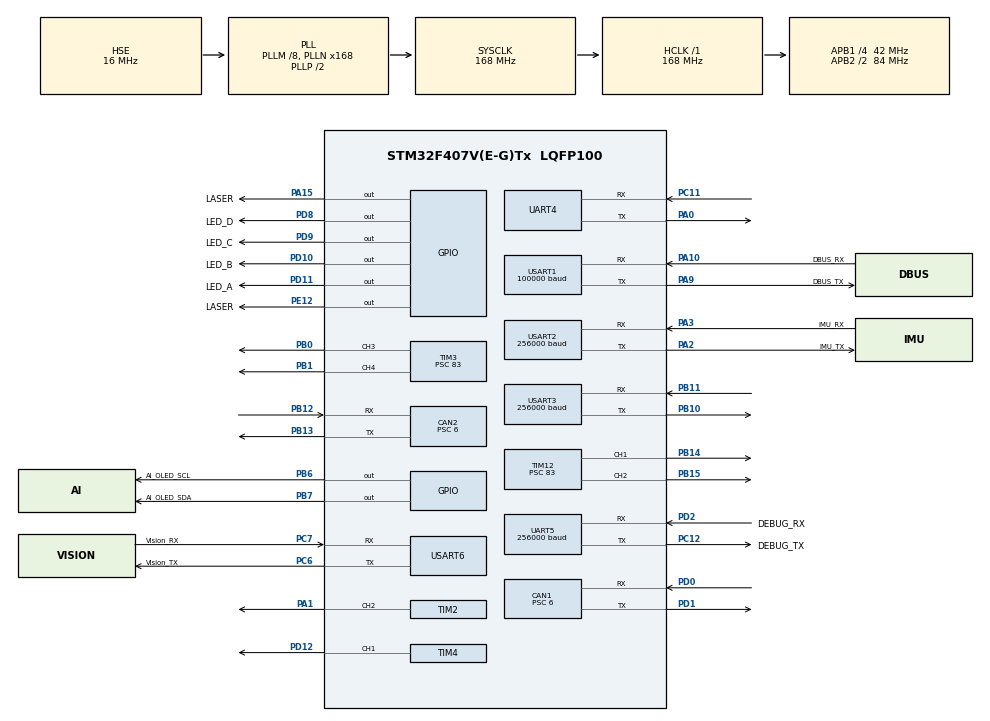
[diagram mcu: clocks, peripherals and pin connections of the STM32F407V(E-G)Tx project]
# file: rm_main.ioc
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CAN1.ABOM=ENABLE
CAN1.BS1=CAN_BS1_3TQ
CAN1.BS2=CAN_BS2_3TQ
CAN1.CalculateTimeQuantum=142.85714285714286
CAN1.Prescaler=6
CAN2.ABOM=ENABLE
CAN2.BS1=CAN_BS1_3TQ
CAN2.BS2=CAN_BS2_3TQ
CAN2.CalculateTimeQuantum=142.85714285714286
CAN2.Prescaler=6
Dma.Request0=USART2_RX
Dma.Request1=USART3_RX
Dma.Request10=USART6_TX
Dma.Request11=USART1_TX
Dma.Request2=USART3_TX
Dma.Request3=USART1_RX
Dma.Request4=USART6_RX
Dma.Request5=UART5_RX
Dma.Request6=UART5_TX
Dma.Request7=USART2_TX
Dma.Request8=UART4_RX
Dma.Request9=UART4_TX
Dma.UART4_RX.8.Direction=DMA_PERIPH_TO_MEMORY
Dma.UART4_RX.8.FIFOMode=DMA_FIFOMODE_DISABLE
Dma.UART4_RX.8.Instance=DMA1_Stream2
Dma.UART4_RX.8.MemDataAlignment=DMA_MDATAALIGN_BYTE
Dma.UART4_RX.8.MemInc=DMA_MINC_ENABLE
Dma.UART4_RX.8.Mode=DMA_NORMAL
Dma.UART4_RX.8.PeriphDataAlignment=DMA_PDATAALIGN_BYTE
Dma.UART4_RX.8.PeriphInc=DMA_PINC_DISABLE
Dma.UART4_RX.8.Priority=DMA_PRIORITY_LOW
Dma.UART4_TX.9.Direction=DMA_MEMORY_TO_PERIPH
Dma.UART4_TX.9.FIFOMode=DMA_FIFOMODE_DISABLE
Dma.UART4_TX.9.Instance=DMA1_Stream4
Dma.UART4_TX.9.MemDataAlignment=DMA_MDATAALIGN_BYTE
Dma.UART4_TX.9.MemInc=DMA_MINC_ENABLE
Dma.UART4_TX.9.Mode=DMA_NORMAL
Dma.UART4_TX.9.PeriphDataAlignment=DMA_PDATAALIGN_BYTE
Dma.UART4_TX.9.PeriphInc=DMA_PINC_DISABLE
Dma.UART4_TX.9.Priority=DMA_PRIORITY_LOW
Dma.UART5_RX.5.Direction=DMA_PERIPH_TO_MEMORY
Dma.UART5_RX.5.FIFOMode=DMA_FIFOMODE_DISABLE
Dma.UART5_RX.5.Instance=DMA1_Stream0
Dma.UART5_RX.5.MemDataAlignment=DMA_MDATAALIGN_BYTE
Dma.UART5_RX.5.MemInc=DMA_MINC_ENABLE
Dma.UART5_RX.5.Mode=DMA_NORMAL
Dma.UART5_RX.5.PeriphDataAlignment=DMA_PDATAALIGN_BYTE
Dma.UART5_RX.5.PeriphInc=DMA_PINC_DISABLE
Dma.UART5_RX.5.Priority=DMA_PRIORITY_LOW
Dma.UART5_TX.6.Direction=DMA_MEMORY_TO_PERIPH
Dma.UART5_TX.6.FIFOMode=DMA_FIFOMODE_DISABLE
Dma.UART5_TX.6.Instance=DMA1_Stream7
Dma.UART5_TX.6.MemDataAlignment=DMA_MDATAALIGN_BYTE
Dma.UART5_TX.6.MemInc=DMA_MINC_ENABLE
Dma.UART5_TX.6.Mode=DMA_NORMAL
Dma.UART5_TX.6.PeriphDataAlignment=DMA_PDATAALIGN_BYTE
Dma.UART5_TX.6.PeriphInc=DMA_PINC_DISABLE
Dma.UART5_TX.6.Priority=DMA_PRIORITY_LOW
Dma.USART1_RX.3.Direction=DMA_PERIPH_TO_MEMORY
Dma.USART1_RX.3.FIFOMode=DMA_FIFOMODE_DISABLE
Dma.USART1_RX.3.Instance=DMA2_Stream2
Dma.USART1_RX.3.MemDataAlignment=DMA_MDATAALIGN_BYTE
Dma.USART1_RX.3.MemInc=DMA_MINC_ENABLE
Dma.USART1_RX.3.Mode=DMA_NORMAL
Dma.USART1_RX.3.PeriphDataAlignment=DMA_PDATAALIGN_BYTE
Dma.USART1_RX.3.PeriphInc=DMA_PINC_DISABLE
Dma.USART1_RX.3.Priority=DMA_PRIORITY_LOW
Dma.USART1_TX.11.Direction=DMA_MEMORY_TO_PERIPH
Dma.USART1_TX.11.FIFOMode=DMA_FIFOMODE_DISABLE
Dma.USART1_TX.11.Instance=DMA2_Stream7
Dma.USART1_TX.11.MemDataAlignment=DMA_MDATAALIGN_BYTE
Dma.USART1_TX.11.MemInc=DMA_MINC_ENABLE
Dma.USART1_TX.11.Mode=DMA_NORMAL
Dma.USART1_TX.11.PeriphDataAlignment=DMA_PDATAALIGN_BYTE
Dma.USART1_TX.11.PeriphInc=DMA_PINC_DISABLE
Dma.USART1_TX.11.Priority=DMA_PRIORITY_LOW
Dma.USART2_RX.0.Direction=DMA_PERIPH_TO_MEMORY
Dma.USART2_RX.0.FIFOMode=DMA_FIFOMODE_DISABLE
Dma.USART2_RX.0.Instance=DMA1_Stream5
Dma.USART2_RX.0.MemDataAlignment=DMA_MDATAALIGN_BYTE
Dma.USART2_RX.0.MemInc=DMA_MINC_ENABLE
Dma.USART2_RX.0.Mode=DMA_NORMAL
Dma.USART2_RX.0.PeriphDataAlignment=DMA_PDATAALIGN_BYTE
Dma.USART2_RX.0.PeriphInc=DMA_PINC_DISABLE
Dma.USART2_RX.0.Priority=DMA_PRIORITY_LOW
Dma.USART2_TX.7.Direction=DMA_MEMORY_TO_PERIPH
Dma.USART2_TX.7.FIFOMode=DMA_FIFOMODE_DISABLE
Dma.USART2_TX.7.Instance=DMA1_Stream6
Dma.USART2_TX.7.MemDataAlignment=DMA_MDATAALIGN_BYTE
Dma.USART2_TX.7.MemInc=DMA_MINC_ENABLE
Dma.USART2_TX.7.Mode=DMA_NORMAL
Dma.USART2_TX.7.PeriphDataAlignment=DMA_PDATAALIGN_BYTE
Dma.USART2_TX.7.PeriphInc=DMA_PINC_DISABLE
Dma.USART2_TX.7.Priority=DMA_PRIORITY_LOW
Dma.USART3_RX.1.Direction=DMA_PERIPH_TO_MEMORY
Dma.USART3_RX.1.FIFOMode=DMA_FIFOMODE_DISABLE
Dma.USART3_RX.1.Instance=DMA1_Stream1
Dma.USART3_RX.1.MemDataAlignment=DMA_MDATAALIGN_BYTE
Dma.USART3_RX.1.MemInc=DMA_MINC_ENABLE
Dma.USART3_RX.1.Mode=DMA_NORMAL
Dma.USART3_RX.1.PeriphDataAlignment=DMA_PDATAALIGN_BYTE
Dma.USART3_RX.1.PeriphInc=DMA_PINC_DISABLE
Dma.USART3_RX.1.Priority=DMA_PRIORITY_LOW
Dma.USART3_TX.2.Direction=DMA_MEMORY_TO_PERIPH
Dma.USART3_TX.2.FIFOMode=DMA_FIFOMODE_DISABLE
Dma.USART3_TX.2.Instance=DMA1_Stream3
Dma.USART3_TX.2.MemDataAlignment=DMA_MDATAALIGN_BYTE
Dma.USART3_TX.2.MemInc=DMA_MINC_ENABLE
Dma.USART3_TX.2.Mode=DMA_NORMAL
Dma.USART3_TX.2.PeriphDataAlignment=DMA_PDATAALIGN_BYTE
Dma.USART3_TX.2.PeriphInc=DMA_PINC_DISABLE
Dma.USART3_TX.2.Priority=DMA_PRIORITY_LOW
Dma.USART6_RX.4.Direction=DMA_PERIPH_TO_MEMORY
Dma.USART6_RX.4.FIFOMode=DMA_FIFOMODE_DISABLE
Dma.USART6_RX.4.Instance=DMA2_Stream1
Dma.USART6_RX.4.MemDataAlignment=DMA_MDATAALIGN_BYTE
Dma.USART6_RX.4.MemInc=DMA_MINC_ENABLE
Dma.USART6_RX.4.Mode=DMA_NORMAL
Dma.USART6_RX.4.PeriphDataAlignment=DMA_PDATAALIGN_BYTE
Dma.USART6_RX.4.PeriphInc=DMA_PINC_DISABLE
Dma.USART6_RX.4.Priority=DMA_PRIORITY_LOW
Dma.USART6_TX.10.Direction=DMA_MEMORY_TO_PERIPH
Dma.USART6_TX.10.FIFOMode=DMA_FIFOMODE_DISABLE
Dma.USART6_TX.10.Instance=DMA2_Stream6
Dma.USART6_TX.10.MemDataAlignment=DMA_MDATAALIGN_BYTE
Dma.USART6_TX.10.MemInc=DMA_MINC_ENABLE
Dma.USART6_TX.10.Mode=DMA_NORMAL
Dma.USART6_TX.10.PeriphDataAlignment=DMA_PDATAALIGN_BYTE
Dma.USART6_TX.10.PeriphInc=DMA_PINC_DISABLE
Dma.USART6_TX.10.Priority=DMA_PRIORITY_LOW
FREERTOS.INCLUDE_vTaskDelayUntil=1
FREERTOS.Tasks01=defaultTask,0,128,StartDefaultTask,Default,NULL
FREERTOS.configUSE_TIMERS=1
Mcu.Family=STM32F4
Mcu.Name=STM32F407V(E-G)Tx
Mcu.Package=LQFP100
NVIC.CAN1_RX0_IRQn=true\:5\:0\:false\:false\:true\:true\:true\:true
NVIC.CAN1_RX1_IRQn=true\:5\:0\:false\:false\:true\:true\:true\:true
NVIC.CAN1_SCE_IRQn=true\:5\:0\:false\:false\:true\:true\:true\:true
NVIC.CAN1_TX_IRQn=true\:5\:0\:false\:false\:true\:true\:true\:true
NVIC.CAN2_RX0_IRQn=true\:5\:0\:false\:false\:true\:true\:true\:true
NVIC.CAN2_RX1_IRQn=true\:5\:0\:false\:false\:true\:true\:true\:true
NVIC.CAN2_SCE_IRQn=true\:5\:0\:false\:false\:true\:true\:true\:true
NVIC.CAN2_TX_IRQn=true\:5\:0\:false\:false\:true\:true\:true\:true
NVIC.DMA1_Stream0_IRQn=true\:5\:0\:false\:false\:true\:true\:false\:true
NVIC.DMA1_Stream1_IRQn=true\:5\:0\:false\:false\:true\:true\:false\:true
NVIC.DMA1_Stream2_IRQn=true\:5\:0\:false\:false\:true\:true\:false\:true
NVIC.DMA1_Stream3_IRQn=true\:5\:0\:false\:false\:true\:true\:false\:true
NVIC.DMA1_Stream4_IRQn=true\:5\:0\:false\:false\:true\:true\:false\:true
NVIC.DMA1_Stream5_IRQn=true\:5\:0\:false\:false\:true\:true\:false\:true
NVIC.DMA1_Stream6_IRQn=true\:5\:0\:false\:false\:true\:true\:false\:true
NVIC.DMA1_Stream7_IRQn=true\:5\:0\:false\:false\:true\:true\:false\:true
NVIC.DMA2_Stream1_IRQn=true\:5\:0\:false\:false\:true\:true\:false\:true
NVIC.DMA2_Stream2_IRQn=true\:5\:0\:false\:false\:true\:true\:false\:true
NVIC.DMA2_Stream6_IRQn=true\:5\:0\:false\:false\:true\:true\:false\:true
NVIC.DMA2_Stream7_IRQn=true\:5\:0\:false\:false\:true\:true\:false\:true
NVIC.PriorityGroup=NVIC_PRIORITYGROUP_4
NVIC.TIM1_UP_TIM10_IRQn=true\:0\:0\:false\:false\:true\:false\:false\:true
NVIC.TIM5_IRQn=true\:5\:0\:false\:false\:true\:true\:true\:true
NVIC.TimeBase=TIM1_UP_TIM10_IRQn
NVIC.TimeBaseIP=TIM10
NVIC.UART4_IRQn=true\:5\:0\:false\:false\:true\:true\:true\:true
NVIC.UART5_IRQn=true\:5\:0\:false\:false\:true\:true\:true\:true
NVIC.USART1_IRQn=true\:5\:0\:false\:false\:true\:true\:true\:true
NVIC.USART2_IRQn=true\:5\:0\:false\:false\:true\:true\:true\:true
NVIC.USART3_IRQn=true\:5\:0\:false\:false\:true\:true\:true\:true
NVIC.USART6_IRQn=true\:5\:0\:false\:false\:true\:true\:true\:true
PA0-WKUP.Mode=Asynchronous
PA0-WKUP.Signal=UART4_TX
PA1.Signal=S_TIM2_CH2
PA10.GPIO_Label=DBUS_RX
PA10.Mode=Asynchronous
PA10.Signal=USART1_RX
PA13.Mode=Serial_Wire
PA13.Signal=SYS_JTMS-SWDIO
PA14.Mode=Serial_Wire
PA14.Signal=SYS_JTCK-SWCLK
PA15.GPIO_Label=LASER
PA15.Signal=GPIO_Output
PA2.GPIO_Label=IMU_TX
PA2.Mode=Asynchronous
PA2.Signal=USART2_TX
PA3.GPIO_Label=IMU_RX
PA3.Mode=Asynchronous
PA3.Signal=USART2_RX
PA9.GPIO_Label=DBUS_TX
PA9.Mode=Asynchronous
PA9.Signal=USART1_TX
PB0.Signal=S_TIM3_CH3
PB1.Signal=S_TIM3_CH4
PB10.Mode=Asynchronous
PB10.Signal=USART3_TX
PB11.Mode=Asynchronous
PB11.Signal=USART3_RX
PB12.Mode=Slave
PB12.Signal=CAN2_RX
PB13.Mode=Slave
PB13.Signal=CAN2_TX
PB14.Signal=S_TIM12_CH1
PB15.Signal=S_TIM12_CH2
PB6.GPIO_Label=AI_OLED_SCL
PB6.Signal=GPIO_Output
PB7.GPIO_Label=AI_OLED_SDA
PB7.Signal=GPIO_Output
PC11.Mode=Asynchronous
PC11.Signal=UART4_RX
PC12.GPIO_Label=DEBUG_TX
PC12.Mode=Asynchronous
PC12.Signal=UART5_TX
PC6.GPIO_Label=Vision_TX
PC6.Mode=Asynchronous
PC6.Signal=USART6_TX
PC7.GPIO_Label=Vision_RX
PC7.Mode=Asynchronous
PC7.Signal=USART6_RX
PD0.Mode=Master
PD0.Signal=CAN1_RX
PD1.Mode=Master
PD1.Signal=CAN1_TX
PD10.GPIO_Label=LED_B
PD10.Signal=GPIO_Output
PD11.GPIO_Label=LED_A
PD11.Signal=GPIO_Output
PD12.Signal=S_TIM4_CH1
PD2.GPIO_Label=DEBUG_RX
PD2.Mode=Asynchronous
PD2.Signal=UART5_RX
PD8.GPIO_Label=LED_D
PD8.Signal=GPIO_Output
PD9.GPIO_Label=LED_C
PD9.Signal=GPIO_Output
PE12.GPIO_Label=LASER
PE12.Signal=GPIO_Output
PH0-OSC_IN.Mode=HSE-External-Oscillator
PH0-OSC_IN.Signal=RCC_OSC_IN
PH1-OSC_OUT.Mode=HSE-External-Oscillator
PH1-OSC_OUT.Signal=RCC_OSC_OUT
ProjectManager.HeapSize=0x1000
ProjectManager.StackSize=0x600
ProjectManager.TargetToolchain=MDK-ARM V5
RCC.48MHZClocksFreq_Value=84000000
RCC.AHBFreq_Value=168000000
RCC.APB1CLKDivider=RCC_HCLK_DIV4
RCC.APB1Freq_Value=42000000
RCC.APB1TimFreq_Value=84000000
RCC.APB2CLKDivider=RCC_HCLK_DIV2
RCC.APB2Freq_Value=84000000
RCC.APB2TimFreq_Value=168000000
RCC.CortexFreq_Value=168000000
RCC.HCLKFreq_Value=168000000
RCC.HSE_VALUE=16000000
RCC.HSI_VALUE=16000000
RCC.LSE_VALUE=32768
RCC.PLLM=8
RCC.PLLN=168
RCC.PLLSourceVirtual=RCC_PLLSOURCE_HSE
RCC.SYSCLKFreq_VALUE=168000000
RCC.SYSCLKSource=RCC_SYSCLKSOURCE_PLLCLK
RCC.VCOOutputFreq_Value=336000000
SH.S_TIM12_CH1.0=TIM12_CH1,PWM Generation1 CH1
SH.S_TIM12_CH2.0=TIM12_CH2,PWM Generation2 CH2
SH.S_TIM2_CH2.0=TIM2_CH2,PWM Generation2 CH2
SH.S_TIM3_CH3.0=TIM3_CH3,PWM Generation3 CH3
SH.S_TIM3_CH4.0=TIM3_CH4,PWM Generation4 CH4
SH.S_TIM4_CH1.0=TIM4_CH1,PWM Generation1 CH1
TIM12.Channel-PWM\ Generation1\ CH1=TIM_CHANNEL_1
TIM12.Channel-PWM\ Generation2\ CH2=TIM_CHANNEL_2
TIM12.Period=19999
TIM12.Prescaler=83
TIM13.Period=19999
TIM13.Prescaler=83
TIM2.Channel-PWM\ Generation2\ CH2=TIM_CHANNEL_2
TIM2.Period=19999
TIM2.Prescaler=83
TIM3.Channel-PWM\ Generation3\ CH3=TIM_CHANNEL_3
TIM3.Channel-PWM\ Generation4\ CH4=TIM_CHANNEL_4
TIM3.Period=19999
TIM3.Prescaler=83
TIM3.Pulse-PWM\ Generation3\ CH3=800
TIM3.Pulse-PWM\ Generation4\ CH4=800
TIM4.Channel-PWM\ Generation1\ CH1=TIM_CHANNEL_1
TIM4.Period=19999
TIM4.Prescaler=83
TIM4.Pulse-PWM\ Generation1\ CH1=800
TIM5.AutoReloadPreload=TIM_AUTORELOAD_PRELOAD_DISABLE
TIM5.Period=0xFFFFFFFF
TIM5.Prescaler=83
UART4.VirtualMode=Asynchronous
UART5.BaudRate=256000
UART5.VirtualMode=Asynchronous
USART1.BaudRate=100000
USART1.Parity=PARITY_EVEN
USART1.VirtualMode=VM_ASYNC
USART2.BaudRate=256000
USART2.VirtualMode=VM_ASYNC
USART3.BaudRate=256000
USART3.VirtualMode=VM_ASYNC
USART6.VirtualMode=VM_ASYNC
VP_FREERTOS_VS_CMSIS_V1.Mode=CMSIS_V1
VP_SYS_VS_tim10.Mode=TIM10
VP_TIM13_VS_ClockSourceINT.Mode=Enable_Timer
VP_TIM5_VS_ClockSourceINT.Mode=Internal
board=custom

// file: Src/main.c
/* USER CODE BEGIN Header */
/**
  ******************************************************************************
  * @file           : main.c
  * @brief          : Main program body
  ******************************************************************************
  * @attention
  *
  * <h2><center>&copy; Copyright (c) 2019 STMicroelectronics.
  * All rights reserved.</center></h2>
  *
  * This software component is licensed by ST under Ultimate Liberty license
  * SLA0044, the "License"; You may not use this file except in compliance with
  * the License. You may obtain a copy of the License at:
  *                             www.st.com/SLA0044
  *
  ******************************************************************************
  */
/* USER CODE END Header */

#include "main.h"
#include "cmsis_os.h"
#include "can.h"
#include "dma.h"
#include "tim.h"
#include "usart.h"
#include "gpio.h"

/* USER CODE BEGIN Includes */
#include "bsp_can.h"
#include "chassis_task.h"
#include "gimbal_task.h"
#include "status_task.h"
#include "shoot_task.h"
#include "modeswitch_task.h"
#include "visionfire_task.h"
#include "bsp_powerlimit.h"
#include "bsp_usart.h"
#include "KalmanFilter.h"
#include "func_generator.h"
#include "z_gimbal.h"

#include "bsp_T_imu.h"
#include "us_tim.h"
#include "ubf.h"

/* USER CODE END Includes */

/* USER CODE BEGIN PV */
ubf_t imu_yaw_ubf;
ubf_t vision_data_ubf;
/* USER CODE END PV */

void SystemClock_Config(void);
void MX_FREERTOS_Init(void);

int main(void)
{

    /* MCU Configuration--------------------------------------------------------*/

    /* Reset of all peripherals, Initializes the Flash interface and the Systick. */
    HAL_Init();

    /* Configure the system clock */
    SystemClock_Config();

    /* Initialize all configured peripherals */
    MX_GPIO_Init();
    MX_DMA_Init();
    MX_CAN1_Init();
    MX_CAN2_Init();
    MX_TIM2_Init();
    MX_TIM3_Init();
    MX_TIM13_Init();
    MX_UART5_Init();
    MX_USART1_UART_Init();
    MX_USART2_UART_Init();
    MX_USART3_UART_Init();
    MX_USART6_UART_Init();
    MX_TIM12_Init();
    MX_UART4_Init();
    MX_TIM4_Init();
    MX_TIM5_Init();
    /* USER CODE BEGIN 2 */
    status_init();
    can_device_init();
    shoot_init();
    chassis_init();
    gimbal_param_init();
    PowerControl_Init();
    Kalman_init();
    USER_UART_Init();
    FGT_init();
    ust_tim_start();
    imu_yaw_ubf = ubf_create(300, sizeof(float));
    vision_data_ubf = ubf_create(20, sizeof(float));
#ifdef __TEST_ZGIMBAL__
#pargma message(""__TEST_ZGIMBAL__ macro activated!"")
    zgimbal_init();
#endif
    HAL_Delay(500);

    /* USER CODE END 2 */

    /* Call init function for freertos objects (in freertos.c) */
    MX_FREERTOS_Init();

    /* Start scheduler */
    osKernelStart();

    /* We should never get here as control is now taken by the scheduler */

    /* Infinite loop */
    while (1)
    {

    }
}

void SystemClock_Config(void)
{
    RCC_OscInitTypeDef RCC_OscInitStruct = {0};
    RCC_ClkInitTypeDef RCC_ClkInitStruct = {0};

    /** Configure the main internal regulator output voltage
    */
    __HAL_RCC_PWR_CLK_ENABLE();
    __HAL_PWR_VOLTAGESCALING_CONFIG(PWR_REGULATOR_VOLTAGE_SCALE1);
    /** Initializes the CPU, AHB and APB busses clocks
    */
    RCC_OscInitStruct.OscillatorType = RCC_OSCILLATORTYPE_HSE;
    RCC_OscInitStruct.HSEState = RCC_HSE_ON;
    RCC_OscInitStruct.PLL.PLLState = RCC_PLL_ON;
    RCC_OscInitStruct.PLL.PLLSource = RCC_PLLSOURCE_HSE;
    RCC_OscInitStruct.PLL.PLLM = 8;
    RCC_OscInitStruct.PLL.PLLN = 168;
    RCC_OscInitStruct.PLL.PLLP = RCC_PLLP_DIV2;
    RCC_OscInitStruct.PLL.PLLQ = 4;
    if (HAL_RCC_OscConfig(&RCC_OscInitStruct) != HAL_OK)
    {
        Error_Handler();
    }
    /** Initializes the CPU, AHB and APB busses clocks
    */
    RCC_ClkInitStruct.ClockType = RCC_CLOCKTYPE_HCLK|RCC_CLOCKTYPE_SYSCLK
                                  |RCC_CLOCKTYPE_PCLK1|RCC_CLOCKTYPE_PCLK2;
    RCC_ClkInitStruct.SYSCLKSource = RCC_SYSCLKSOURCE_PLLCLK;
    RCC_ClkInitStruct.AHBCLKDivider = RCC_SYSCLK_DIV1;
    RCC_ClkInitStruct.APB1CLKDivider = RCC_HCLK_DIV4;
    RCC_ClkInitStruct.APB2CLKDivider = RCC_HCLK_DIV2;

    if (HAL_RCC_ClockConfig(&RCC_ClkInitStruct, FLASH_LATENCY_5) != HAL_OK)
    {
        Error_Handler();
    }
}

void HAL_TIM_PeriodElapsedCallback(TIM_HandleTypeDef *htim)
{
    if (htim->Instance == TIM10) {
        HAL_IncTick();
    }
    if (htim->Instance == TIM5)
    {
        prv_ust.overflow_cnt++;
    }
}

void Error_Handler(void)
{
}

/************************ (C) COPYRIGHT STMicroelectronics *****END OF FILE****/

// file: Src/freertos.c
/* USER CODE BEGIN Header */
/**
  ******************************************************************************
  * File Name          : freertos.c
  * Description        : Code for freertos applications
  ******************************************************************************
  * @attention
  *
  * <h2><center>&copy; Copyright (c) 2019 STMicroelectronics.
  * All rights reserved.</center></h2>
  *
  * This software component is licensed by ST under Ultimate Liberty license
  * SLA0044, the "License"; You may not use this file except in compliance with
  * the License. You may obtain a copy of the License at:
  *                             www.st.com/SLA0044
  *
  ******************************************************************************
  */
/* USER CODE END Header */

#include "FreeRTOS.h"
#include "task.h"
#include "main.h"
#include "cmsis_os.h"

/* USER CODE BEGIN Includes */
#include "comm_task.h"
#include "chassis_task.h"
#include "modeswitch_task.h"
#include "gimbal_task.h"
#include "shoot_task.h"
#include "status_task.h"
#include "bsp_judge.h"
#include "test_task.h"
/* USER CODE END Includes */

/* USER CODE BEGIN Variables */
osThreadId mode_sw_task_t;
osThreadId chassis_task_t;
osThreadId gimbal_task_t;
osThreadId shoot_task_t;

osThreadId judge_send_task_t;
osThreadId usart_msg_send_task_t;
osThreadId can_msg_send_task_t;

osThreadId status_task_t;
osThreadId test_task_t;

/* USER CODE END Variables */
osThreadId defaultTaskHandle;

void StartDefaultTask(void const * argument);

void MX_FREERTOS_Init(void); /* (MISRA C 2004 rule 8.1) */

/* GetIdleTaskMemory prototype (linked to static allocation support) */
void vApplicationGetIdleTaskMemory( StaticTask_t **ppxIdleTaskTCBBuffer, StackType_t **ppxIdleTaskStackBuffer, uint32_t *pulIdleTaskStackSize );

/* GetTimerTaskMemory prototype (linked to static allocation support) */
void vApplicationGetTimerTaskMemory( StaticTask_t **ppxTimerTaskTCBBuffer, StackType_t **ppxTimerTaskStackBuffer, uint32_t *pulTimerTaskStackSize );

/* USER CODE BEGIN GET_IDLE_TASK_MEMORY */
static StaticTask_t xIdleTaskTCBBuffer;
static StackType_t xIdleStack[configMINIMAL_STACK_SIZE];

void vApplicationGetIdleTaskMemory( StaticTask_t **ppxIdleTaskTCBBuffer, StackType_t **ppxIdleTaskStackBuffer, uint32_t *pulIdleTaskStackSize )
{
    *ppxIdleTaskTCBBuffer = &xIdleTaskTCBBuffer;
    *ppxIdleTaskStackBuffer = &xIdleStack[0];
    *pulIdleTaskStackSize = configMINIMAL_STACK_SIZE;
    /* place for user code */
}
/* USER CODE END GET_IDLE_TASK_MEMORY */

/* USER CODE BEGIN GET_TIMER_TASK_MEMORY */
static StaticTask_t xTimerTaskTCBBuffer;
static StackType_t xTimerStack[configTIMER_TASK_STACK_DEPTH];

void vApplicationGetTimerTaskMemory( StaticTask_t **ppxTimerTaskTCBBuffer, StackType_t **ppxTimerTaskStackBuffer, uint32_t *pulTimerTaskStackSize )
{
    *ppxTimerTaskTCBBuffer = &xTimerTaskTCBBuffer;
    *ppxTimerTaskStackBuffer = &xTimerStack[0];
    *pulTimerTaskStackSize = configTIMER_TASK_STACK_DEPTH;
    /* place for user code */
}
/* USER CODE END GET_TIMER_TASK_MEMORY */

void MX_FREERTOS_Init(void) {

    /* USER CODE BEGIN RTOS_TIMERS */
    /* start timers, add new ones, ... */
    taskENTER_CRITICAL();

    /* USER CODE END RTOS_TIMERS */

    /* Create the thread(s) */
    /* definition and creation of defaultTask */
    osThreadDef(defaultTask, StartDefaultTask, osPriorityNormal, 0, 128);
    defaultTaskHandle = osThreadCreate(osThread(defaultTask), NULL);

    /* USER CODE BEGIN RTOS_THREADS */
    /* add threads, ... */
    /* high priority task */
#ifndef __TEST_ZGIMBAL__
    /***************************High priority task***************************/
    osThreadDef(canTask, can_msg_send_task, osPriorityHigh, 0, 512);
    can_msg_send_task_t = osThreadCreate(osThread(canTask), NULL);

    osThreadDef(usartTask, usart_msg_send_task, osPriorityHigh, 0, 256);
    usart_msg_send_task_t = osThreadCreate(osThread(usartTask), NULL);
    /***********************AboveNormal priority task***********************/
    osThreadDef(chassisTask, chassis_task, osPriorityAboveNormal, 0, 256);
    chassis_task_t = osThreadCreate(osThread(chassisTask),NULL);

    osThreadDef(gimbalTask, gimbal_task, osPriorityAboveNormal, 0, 512);
    gimbal_task_t = osThreadCreate(osThread(gimbalTask),NULL);

    osThreadDef(shootTask, shoot_task, osPriorityAboveNormal, 0, 256);
    shoot_task_t = osThreadCreate(osThread(shootTask),NULL);
    /**************************Normal priority task**************************/
    osThreadDef(modeswTask, mode_switch_task, osPriorityAboveNormal, 0, 128);
    mode_sw_task_t = osThreadCreate(osThread(modeswTask),NULL);

    osThreadDef(judgesendTask, judge_send_task, osPriorityNormal, 0, 128);
    judge_send_task_t = osThreadCreate(osThread(judgesendTask),NULL);

    /* 供测试使用 */
//    osThreadDef(testTask, test_task, osPriorityNormal, 0, 256);
//    test_task_t = osThreadCreate(osThread(testTask),NULL);
    /**************************Low priority task**************************/
    osThreadDef(statusTask, status_task, osPriorityLow, 0, 128);
    status_task_t = osThreadCreate(osThread(statusTask),NULL);
    /* low priority task */
#endif
    taskEXIT_CRITICAL();
    /* USER CODE END RTOS_THREADS */

}

void StartDefaultTask(void const * argument)
{

    /* USER CODE BEGIN StartDefaultTask */
    /* Infinite loop */
    for(;;)
    {
        osDelay(100);
    }
    /* USER CODE END StartDefaultTask */
}

/************************ (C) COPYRIGHT STMicroelectronics *****END OF FILE****/
